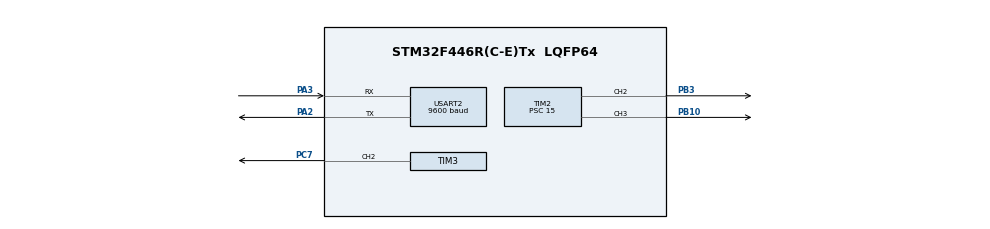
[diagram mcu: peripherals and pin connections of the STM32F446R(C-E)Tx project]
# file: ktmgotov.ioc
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Mcu.Family=STM32F4
Mcu.Name=STM32F446R(C-E)Tx
Mcu.Package=LQFP64
NVIC.PriorityGroup=NVIC_PRIORITYGROUP_4
PA13.Mode=Serial_Wire
PA13.Signal=SYS_JTMS-SWDIO
PA14.Mode=Serial_Wire
PA14.Signal=SYS_JTCK-SWCLK
PA2.Mode=Asynchronous
PA2.Signal=USART2_TX
PA3.Mode=Asynchronous
PA3.Signal=USART2_RX
PB10.Signal=S_TIM2_CH3
PB3.Signal=S_TIM2_CH2
PC7.Signal=S_TIM3_CH2
ProjectManager.HeapSize=0x200
ProjectManager.StackSize=0x400
ProjectManager.TargetToolchain=STM32CubeIDE
RCC.CortexFreq_Value=16000000
RCC.USBFreq_Value=96000000
RCC.VCOOutputFreq_Value=192000000
SH.S_TIM2_CH2.0=TIM2_CH2,PWM Generation2 CH2
SH.S_TIM2_CH3.0=TIM2_CH3,PWM Generation3 CH3
SH.S_TIM3_CH2.0=TIM3_CH2,PWM Generation2 CH2
TIM2.Channel-PWM\ Generation2\ CH2=TIM_CHANNEL_2
TIM2.Channel-PWM\ Generation3\ CH3=TIM_CHANNEL_3
TIM2.Period=999
TIM2.Prescaler=15
TIM3.Channel-PWM\ Generation2\ CH2=TIM_CHANNEL_2
TIM3.Period=999
TIM3.Prescaler=15
USART2.BaudRate=9600
USART2.VirtualMode=VM_ASYNC
board=custom

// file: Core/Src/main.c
/* USER CODE BEGIN Header */
/**
  ******************************************************************************
  * @file           : main.c
  * @brief          : Main program body
  ******************************************************************************
  * @attention
  *
  * Copyright (c) 2026 STMicroelectronics.
  * All rights reserved.
  *
  * This software is licensed under terms that can be found in the LICENSE file
  * in the root directory of this software component.
  * If no LICENSE file comes with this software, it is provided AS-IS.
  *
  ******************************************************************************
  */
/* USER CODE END Header */
#include "main.h"
#include "tim.h"
#include "usart.h"
#include "gpio.h"
#include "stdint.h"

void SystemClock_Config(void);

int main(void)
{

  /* USER CODE BEGIN 1 */
	uint32_t map(uint32_t x,
	                 uint32_t in_min,  uint32_t in_max,
	                 uint32_t out_min, uint32_t out_max)
	{
	    return ((x - in_min) * (out_max - out_min)) / (in_max - in_min) + out_min;
	}
  /* USER CODE END 1 */

  /* MCU Configuration--------------------------------------------------------*/

  /* Reset of all peripherals, Initializes the Flash interface and the Systick. */
  HAL_Init();

  /* Configure the system clock */
  SystemClock_Config();

  /* Initialize all configured peripherals */
  MX_GPIO_Init();
  MX_USART2_UART_Init();
  MX_TIM2_Init();
  MX_TIM3_Init();
  /* USER CODE BEGIN 2 */
  char msg[] = "STM32 UART ready\r\n";
    HAL_UART_Transmit(&huart2, (uint8_t*)msg, strlen(msg), HAL_MAX_DELAY);
  /* USER CODE END 2 */

  /* Infinite loop */
  /* USER CODE BEGIN WHILE */
    int p = 0;
    int c = 0;
    int z = 0;
	uint32_t duty;
     while (1)
     {
    /* USER CODE END WHILE */

    /* USER CODE BEGIN 3 */
         uint8_t rxByte;
         // Čekaj 1 bajt s PC-a (timeout 1000 ms)

         if (HAL_UART_Receive(&huart2, &rxByte, 1, 1000) == HAL_OK)
         {
        	 //HAL_UART_Transmit(&huart2, &rxByte, 1, HAL_MAX_DELAY);

          /////////plava/////////////////////
       	  if(rxByte == 'a' && p == 0){
       		  HAL_TIM_PWM_Start(&htim2, TIM_CHANNEL_3);
       		  __HAL_TIM_SET_COMPARE(&htim2, TIM_CHANNEL_3, 255);
       		  char msg[] = "Plava ledica upaljena\r\n";
       		  HAL_UART_Transmit(&huart2, (uint8_t*)msg, strlen(msg), HAL_MAX_DELAY);
       		  p = 1;
       	  }
       	  else if(rxByte == 'b' && p == 1){
       		  HAL_TIM_PWM_Start(&htim2, TIM_CHANNEL_3);
       		  __HAL_TIM_SET_COMPARE(&htim2, TIM_CHANNEL_3, 0);
       		  char msg[] = "Plava ledica ugašena\r\n";
       		  HAL_UART_Transmit(&huart2, (uint8_t*)msg, strlen(msg), HAL_MAX_DELAY);
       		  p = 0;
       	  }

       	  else if(rxByte == 'a' && p == 1){
       		  char msg[] = "Plava ledica je već upaljena\r\n";
       		  HAL_UART_Transmit(&huart2, (uint8_t*)msg, strlen(msg), HAL_MAX_DELAY);
       	  }
       	  else if(rxByte == 'b' && p == 0){
       	      	char msg[] = "Plava ledica je već ugašena\r\n";
       	      	HAL_UART_Transmit(&huart2, (uint8_t*)msg, strlen(msg), HAL_MAX_DELAY);
       	  }
       	  else if(p == 1 && rxByte >= 0 && rxByte <= 10){
       		  //uint8_t vrijednost = rxByte;
       		//char msg[] = "Mijenjam vrijednost\r\n";
       		 //HAL_UART_Transmit(&huart2, (uint8_t*)msg, strlen(msg), HAL_MAX_DELAY);
       		duty = map(rxByte, 1, 10, 0, 255);
       		HAL_TIM_PWM_Start(&htim2, TIM_CHANNEL_3);
       		__HAL_TIM_SET_COMPARE(&htim2, TIM_CHANNEL_3, duty);
       	  }

          /////////crvena/////////////////////
       	  if(rxByte == 'c' && c == 0){
       		  HAL_TIM_PWM_Start(&htim2, TIM_CHANNEL_2);
       		  __HAL_TIM_SET_COMPARE(&htim2, TIM_CHANNEL_2, 255);
       		  char msg[] = "Crvena ledica upaljena\r\n";
       		  HAL_UART_Transmit(&huart2, (uint8_t*)msg, strlen(msg), HAL_MAX_DELAY);
       		  c = 1;
       	  }
       	  else if(rxByte == 'd' && c == 1){
       		  HAL_TIM_PWM_Start(&htim2, TIM_CHANNEL_2);
       		  __HAL_TIM_SET_COMPARE(&htim2, TIM_CHANNEL_2, 0);
       		  char msg[] = "Crvena ledica ugašena\r\n";
       		  HAL_UART_Transmit(&huart2, (uint8_t*)msg, strlen(msg), HAL_MAX_DELAY);
       		  c = 0;
       	  }

       	  else if(rxByte == 'c' && c == 1){
       		  char msg[] = "Crvena ledica je već upaljena\r\n";
       		  HAL_UART_Transmit(&huart2, (uint8_t*)msg, strlen(msg), HAL_MAX_DELAY);
       	  }
       	  else if(rxByte == 'd' && c == 0){
       	      	char msg[] = "Crvena ledica je već ugašena\r\n";
       	      	HAL_UART_Transmit(&huart2, (uint8_t*)msg, strlen(msg), HAL_MAX_DELAY);
       	  }
       	  else if(c == 1 && rxByte >= 11 && rxByte <= 20){
       		  //uint8_t vrijednost = rxByte;
       		//char msg[] = "Mijenjam vrijednost\r\n";
       		 //HAL_UART_Transmit(&huart2, (uint8_t*)msg, strlen(msg), HAL_MAX_DELAY);
       		duty = map(rxByte, 11, 20, 0, 255);
       		HAL_TIM_PWM_Start(&htim2, TIM_CHANNEL_2);
       		__HAL_TIM_SET_COMPARE(&htim2, TIM_CHANNEL_2, duty);
       	  }

          /////////zelena/////////////////////
       	  if(rxByte == 'e' && z == 0){
       		  HAL_TIM_PWM_Start(&htim3, TIM_CHANNEL_2);
       		  __HAL_TIM_SET_COMPARE(&htim3, TIM_CHANNEL_2, 255);
       		  char msg[] = "Zelena ledica upaljena\r\n";
       		  HAL_UART_Transmit(&huart2, (uint8_t*)msg, strlen(msg), HAL_MAX_DELAY);
       		  z = 1;
       	  }
       	  else if(rxByte == 'f' && z == 1){
       		  HAL_TIM_PWM_Start(&htim3, TIM_CHANNEL_2);
       		  __HAL_TIM_SET_COMPARE(&htim3, TIM_CHANNEL_2, 0);
       		  char msg[] = "Zelena ledica ugašena\r\n";
       		  HAL_UART_Transmit(&huart2, (uint8_t*)msg, strlen(msg), HAL_MAX_DELAY);
       		  z = 0;
       	  }

       	  else if(rxByte == 'e' && z == 1){
       		  char msg[] = "Zelena ledica je već upaljena\r\n";
       		  HAL_UART_Transmit(&huart2, (uint8_t*)msg, strlen(msg), HAL_MAX_DELAY);
       	  }
       	  else if(rxByte == 'f' && z == 0){
       	      	char msg[] = "Zelena ledica je već ugašena\r\n";
       	      	HAL_UART_Transmit(&huart2, (uint8_t*)msg, strlen(msg), HAL_MAX_DELAY);
       	  }
       	  else if(z == 1 && rxByte >= 21 && rxByte <= 30){
       		  //uint8_t vrijednost = rxByte;
       		//char msg[] = "Mijenjam vrijednost\r\n";
       		 //HAL_UART_Transmit(&huart2, (uint8_t*)msg, strlen(msg), HAL_MAX_DELAY);
       		duty = map(rxByte, 21, 30, 0, 255);
       		HAL_TIM_PWM_Start(&htim3, TIM_CHANNEL_2);
       		__HAL_TIM_SET_COMPARE(&htim3, TIM_CHANNEL_2, duty);
       	  }

           // Vrati isti bajt nazad na PC (echo)
           //HAL_UART_Transmit(&huart2, &rxByte, 1, HAL_MAX_DELAY);
         }
     }

  /* USER CODE END 3 */
}

void SystemClock_Config(void)
{
  RCC_OscInitTypeDef RCC_OscInitStruct = {0};
  RCC_ClkInitTypeDef RCC_ClkInitStruct = {0};

  /** Configure the main internal regulator output voltage
  */
  __HAL_RCC_PWR_CLK_ENABLE();
  __HAL_PWR_VOLTAGESCALING_CONFIG(PWR_REGULATOR_VOLTAGE_SCALE3);

  /** Initializes the RCC Oscillators according to the specified parameters
  * in the RCC_OscInitTypeDef structure.
  */
  RCC_OscInitStruct.OscillatorType = RCC_OSCILLATORTYPE_HSI;
  RCC_OscInitStruct.HSIState = RCC_HSI_ON;
  RCC_OscInitStruct.HSICalibrationValue = RCC_HSICALIBRATION_DEFAULT;
  RCC_OscInitStruct.PLL.PLLState = RCC_PLL_NONE;
  if (HAL_RCC_OscConfig(&RCC_OscInitStruct) != HAL_OK)
  {
    Error_Handler();
  }

  /** Initializes the CPU, AHB and APB buses clocks
  */
  RCC_ClkInitStruct.ClockType = RCC_CLOCKTYPE_HCLK|RCC_CLOCKTYPE_SYSCLK
                              |RCC_CLOCKTYPE_PCLK1|RCC_CLOCKTYPE_PCLK2;
  RCC_ClkInitStruct.SYSCLKSource = RCC_SYSCLKSOURCE_HSI;
  RCC_ClkInitStruct.AHBCLKDivider = RCC_SYSCLK_DIV1;
  RCC_ClkInitStruct.APB1CLKDivider = RCC_HCLK_DIV1;
  RCC_ClkInitStruct.APB2CLKDivider = RCC_HCLK_DIV1;

  if (HAL_RCC_ClockConfig(&RCC_ClkInitStruct, FLASH_LATENCY_0) != HAL_OK)
  {
    Error_Handler();
  }
}

void Error_Handler(void)
{
  __disable_irq();
  while (1)
  {
  }
}
